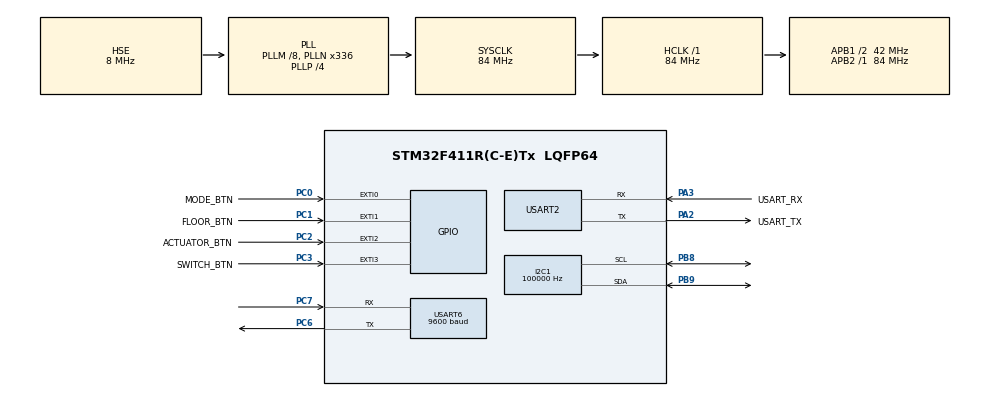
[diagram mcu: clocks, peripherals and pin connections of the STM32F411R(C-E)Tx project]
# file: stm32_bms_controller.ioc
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I2C1.ClockSpeed=100000
Mcu.Family=STM32F4
Mcu.Name=STM32F411R(C-E)Tx
Mcu.Package=LQFP64
NVIC.EXTI0_IRQn=true\:0\:0\:false\:true\:true\:1\:true\:true\:true
NVIC.EXTI1_IRQn=true\:0\:0\:false\:true\:true\:2\:true\:true\:true
NVIC.EXTI2_IRQn=true\:0\:0\:false\:true\:true\:3\:true\:true\:true
NVIC.EXTI3_IRQn=true\:0\:0\:false\:true\:true\:4\:true\:true\:true
NVIC.PriorityGroup=NVIC_PRIORITYGROUP_0
NVIC.TIM3_IRQn=true\:0\:0\:false\:false\:true\:true\:true\:true
NVIC.USART2_IRQn=true\:0\:0\:false\:false\:true\:true\:true\:true
NVIC.USART6_IRQn=true\:0\:0\:false\:false\:true\:true\:true\:true
PA13.GPIO_Label=TMS
PA13.Mode=Serial_Wire
PA13.Signal=SYS_JTMS-SWDIO
PA14.GPIO_Label=TCK
PA14.Mode=Serial_Wire
PA14.Signal=SYS_JTCK-SWCLK
PA2.GPIO_Label=USART_TX
PA2.Mode=Asynchronous
PA2.Signal=USART2_TX
PA3.GPIO_Label=USART_RX
PA3.Mode=Asynchronous
PA3.Signal=USART2_RX
PB3.GPIO_Label=SWO
PB3.Signal=SYS_JTDO-SWO
PB8.Mode=I2C
PB8.Signal=I2C1_SCL
PB9.Mode=I2C
PB9.Signal=I2C1_SDA
PC0.GPIO_Label=MODE_BTN
PC0.GPIO_ModeDefaultEXTI=GPIO_MODE_IT_RISING
PC0.GPIO_PuPd=GPIO_PULLDOWN
PC0.Signal=GPXTI0
PC1.GPIO_Label=FLOOR_BTN
PC1.GPIO_ModeDefaultEXTI=GPIO_MODE_IT_RISING
PC1.GPIO_PuPd=GPIO_PULLDOWN
PC1.Signal=GPXTI1
PC14-OSC32_IN.Signal=RCC_OSC32_IN
PC15-OSC32_OUT.Signal=RCC_OSC32_OUT
PC2.GPIO_Label=ACTUATOR_BTN
PC2.GPIO_ModeDefaultEXTI=GPIO_MODE_IT_RISING
PC2.GPIO_PuPd=GPIO_PULLDOWN
PC2.Signal=GPXTI2
PC3.GPIO_Label=SWITCH_BTN
PC3.GPIO_ModeDefaultEXTI=GPIO_MODE_IT_RISING
PC3.GPIO_PuPd=GPIO_PULLDOWN
PC3.Signal=GPXTI3
PC6.Mode=Asynchronous
PC6.Signal=USART6_TX
PC7.Mode=Asynchronous
PC7.Signal=USART6_RX
PH0\ -\ OSC_IN.Mode=HSE-External-Oscillator
PH0\ -\ OSC_IN.Signal=RCC_OSC_IN
PH1\ -\ OSC_OUT.Mode=HSE-External-Oscillator
PH1\ -\ OSC_OUT.Signal=RCC_OSC_OUT
ProjectManager.HeapSize=0x200
ProjectManager.StackSize=0x400
ProjectManager.TargetToolchain=STM32CubeIDE
RCC.48MHZClocksFreq_Value=84000000
RCC.AHBFreq_Value=84000000
RCC.APB1CLKDivider=RCC_HCLK_DIV2
RCC.APB1Freq_Value=42000000
RCC.APB1TimFreq_Value=84000000
RCC.APB2Freq_Value=84000000
RCC.APB2TimFreq_Value=84000000
RCC.CortexFreq_Value=84000000
RCC.FLatency-AdvancedSettings=FLASH_LATENCY_2
RCC.HCLKFreq_Value=84000000
RCC.HSE_VALUE=8000000
RCC.HSI_VALUE=16000000
RCC.LSE_VALUE=32768
RCC.PLLM=8
RCC.PLLN=336
RCC.PLLP=RCC_PLLP_DIV4
RCC.PLLSourceVirtual=RCC_PLLSOURCE_HSE
RCC.SYSCLKFreq_VALUE=84000000
RCC.SYSCLKSource=RCC_SYSCLKSOURCE_PLLCLK
RCC.VCOOutputFreq_Value=336000000
TIM3.AutoReloadPreload=TIM_AUTORELOAD_PRELOAD_ENABLE
TIM3.Period=1000-1
TIM3.Prescaler=84-1
USART2.VirtualMode=VM_ASYNC
USART6.BaudRate=9600
USART6.VirtualMode=VM_ASYNC
VP_TIM3_VS_ClockSourceINT.Mode=Internal
board=NUCLEO-F411RE

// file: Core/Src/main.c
/* USER CODE BEGIN Header */
/**
  ******************************************************************************
  * @file           : main.c
  * @brief          : Main program body
  ******************************************************************************
  * @attention
  *
  * Copyright (c) 2024 STMicroelectronics.
  * All rights reserved.
  *
  * This software is licensed under terms that can be found in the LICENSE file
  * in the root directory of this software component.
  * If no LICENSE file comes with this software, it is provided AS-IS.
  *
  ******************************************************************************
  */
/* USER CODE END Header */
#include "main.h"

/* USER CODE BEGIN Includes */
#include <stdio.h>
#include <string.h>
//#include "dht.h"
#include "clcd.h"
/* USER CODE END Includes */

/* USER CODE BEGIN PD */
#ifdef __GNUC__
/* With GCC, small printf (option LD Linker->Libraries->Small printf
   set to 'Yes') calls __io_putchar() */
#define PUTCHAR_PROTOTYPE int __io_putchar(int ch)
#else
#define PUTCHAR_PROTOTYPE int fputc(int ch, FILE *f)
#endif /* __GNUC__ */
#define ARR_CNT 6
#define CMD_SIZE 50

#define FLOOR_SIZE 	5
#define ACTUATOR_SIZE  4
#define MONITOR		0
#define CONTROL		1
#define ALARM		2
/* USER CODE END PD */

I2C_HandleTypeDef hi2c1;

TIM_HandleTypeDef htim3;

UART_HandleTypeDef huart2;
UART_HandleTypeDef huart6;

/* USER CODE BEGIN PV */
uint8_t rx2char;
volatile unsigned char rx2Flag = 0;
volatile char rx2Data[50];
volatile unsigned char btFlag = 0;
uint8_t btchar;
char btData[50];
volatile int keyNo = 9;
volatile int tim3Flag1Sec;
volatile unsigned int tim3Cnt;
volatile int updateTimeFlag = 1;
volatile uint32_t lastButtonPressTime = 0;
int modeState;
int floorState = 1; //0F -> ALL
int actuatorState;
int onoffState;

typedef struct {
  int year;
  int month;
  int day;
  int hour;
  int min;
  int sec;
} DATETIME;

DATETIME dateTime = {0, 0, 0, 12, 0, 0};

int alarmState;
DATETIME openTime = {0, 0, 0, 8, 0, 0};
DATETIME closeTime = {0, 0, 0, 22, 0, 0};
/* USER CODE END PV */

void SystemClock_Config(void);
static void MX_GPIO_Init(void);
static void MX_USART2_UART_Init(void);
static void MX_USART6_UART_Init(void);
static void MX_I2C1_Init(void);
static void MX_TIM3_Init(void);
static void MX_NVIC_Init(void);
/* USER CODE BEGIN PFP */
void bluetooth_Event();
/* USER CODE END PFP */

int main(void)
{

  /* MCU Configuration--------------------------------------------------------*/

  /* Reset of all peripherals, Initializes the Flash interface and the Systick. */
  HAL_Init();

  /* Configure the system clock */
  SystemClock_Config();

  /* Initialize all configured peripherals */
  MX_GPIO_Init();
  MX_USART2_UART_Init();
  MX_USART6_UART_Init();
  MX_I2C1_Init();
  MX_TIM3_Init();

  /* Initialize interrupts */
  MX_NVIC_Init();
  /* USER CODE BEGIN 2 */
  HAL_UART_Receive_IT(&huart2, &rx2char,1);
  HAL_UART_Receive_IT(&huart6, &btchar,1);
  //DHT11_Init();
  LCD_init(&hi2c1);

  //DHT11_TypeDef dht11Data;
  char buff[30];

  printf("start main() \r\n");
  LCD_update(modeState, floorState, actuatorState, onoffState);

  if(HAL_TIM_Base_Start_IT(&htim3) != HAL_OK)
  {
	  Error_Handler();
  }

//  char buf[10] = "Hello\r";
  /* USER CODE END 2 */

  /* Infinite loop */
  /* USER CODE BEGIN WHILE */
  while (1)
  {
	  ///////////////BUTTON EVENT////////////////////
	  if(keyNo != 0)
	  {
		  button_event();
		  LCD_update(modeState, floorState, actuatorState, onoffState);
		  keyNo = 0;
	  }
	  ////////////////////////////////////////////////////
	  if(rx2Flag)
	  {
		  printf("recv2 : %s\r\n",rx2Data);
		  rx2Flag =0;
	//	    HAL_UART_Transmit(&huart6, (uint8_t *)buf, strlen(buf), 0xFFFF);
	  }
	  if(tim3Flag1Sec)
	  {
		  tim3Flag1Sec = 0;
		  if(modeState == ALARM)
		  {
			  LCD_update(modeState, floorState, actuatorState, onoffState);
		  }
	  }
	  if(updateTimeFlag)
	  {
		  updateTimeFlag = 0;
		  char message[100];
		  sprintf(message, "[GETTIME]\n");
		  HAL_UART_Transmit(&huart6, (uint8_t *)message, strlen(message), HAL_MAX_DELAY);

	  }
	  if(btFlag)
	  {
//		printf("bt : %s\r\n",btData);
			btFlag =0;
			bluetooth_Event();
	  }
	  //dht11Data = DHT11_readData();
	  //sprintf(buff,"h: %d%% t: %d.%d'C", dht11Data.rh_byte1, dht11Data.temp_byte1, dht11Data.temp_byte2);
	  //printf("%s\r\n", buff);
	  //LCD_writeStringXY(1, 0, buff);
	  HAL_Delay(20);

//	  HAL_GPIO_TogglePin(GPIOC, GPIO_PIN_13);
//	  HAL_Delay(500);

    /* USER CODE END WHILE */

  }
}

void SystemClock_Config(void)
{
  RCC_OscInitTypeDef RCC_OscInitStruct = {0};
  RCC_ClkInitTypeDef RCC_ClkInitStruct = {0};

  /** Configure the main internal regulator output voltage
  */
  __HAL_RCC_PWR_CLK_ENABLE();
  __HAL_PWR_VOLTAGESCALING_CONFIG(PWR_REGULATOR_VOLTAGE_SCALE1);

  /** Initializes the RCC Oscillators according to the specified parameters
  * in the RCC_OscInitTypeDef structure.
  */
  RCC_OscInitStruct.OscillatorType = RCC_OSCILLATORTYPE_HSE;
  RCC_OscInitStruct.HSEState = RCC_HSE_ON;
  RCC_OscInitStruct.PLL.PLLState = RCC_PLL_ON;
  RCC_OscInitStruct.PLL.PLLSource = RCC_PLLSOURCE_HSE;
  RCC_OscInitStruct.PLL.PLLM = 8;
  RCC_OscInitStruct.PLL.PLLN = 336;
  RCC_OscInitStruct.PLL.PLLP = RCC_PLLP_DIV4;
  RCC_OscInitStruct.PLL.PLLQ = 4;
  if (HAL_RCC_OscConfig(&RCC_OscInitStruct) != HAL_OK)
  {
    Error_Handler();
  }

  /** Initializes the CPU, AHB and APB buses clocks
  */
  RCC_ClkInitStruct.ClockType = RCC_CLOCKTYPE_HCLK|RCC_CLOCKTYPE_SYSCLK
                              |RCC_CLOCKTYPE_PCLK1|RCC_CLOCKTYPE_PCLK2;
  RCC_ClkInitStruct.SYSCLKSource = RCC_SYSCLKSOURCE_PLLCLK;
  RCC_ClkInitStruct.AHBCLKDivider = RCC_SYSCLK_DIV1;
  RCC_ClkInitStruct.APB1CLKDivider = RCC_HCLK_DIV2;
  RCC_ClkInitStruct.APB2CLKDivider = RCC_HCLK_DIV1;

  if (HAL_RCC_ClockConfig(&RCC_ClkInitStruct, FLASH_LATENCY_2) != HAL_OK)
  {
    Error_Handler();
  }
}

/**
  * @brief NVIC Configuration.
  * @retval None
  */
static void MX_NVIC_Init(void)
{
  /* EXTI0_IRQn interrupt configuration */
  HAL_NVIC_SetPriority(EXTI0_IRQn, 0, 0);
  HAL_NVIC_EnableIRQ(EXTI0_IRQn);
  /* EXTI1_IRQn interrupt configuration */
  HAL_NVIC_SetPriority(EXTI1_IRQn, 0, 0);
  HAL_NVIC_EnableIRQ(EXTI1_IRQn);
  /* EXTI2_IRQn interrupt configuration */
  HAL_NVIC_SetPriority(EXTI2_IRQn, 0, 0);
  HAL_NVIC_EnableIRQ(EXTI2_IRQn);
  /* EXTI3_IRQn interrupt configuration */
  HAL_NVIC_SetPriority(EXTI3_IRQn, 0, 0);
  HAL_NVIC_EnableIRQ(EXTI3_IRQn);
}

static void MX_I2C1_Init(void)
{

  hi2c1.Instance = I2C1;
  hi2c1.Init.ClockSpeed = 100000;
  hi2c1.Init.DutyCycle = I2C_DUTYCYCLE_2;
  hi2c1.Init.OwnAddress1 = 0;
  hi2c1.Init.AddressingMode = I2C_ADDRESSINGMODE_7BIT;
  hi2c1.Init.DualAddressMode = I2C_DUALADDRESS_DISABLE;
  hi2c1.Init.OwnAddress2 = 0;
  hi2c1.Init.GeneralCallMode = I2C_GENERALCALL_DISABLE;
  hi2c1.Init.NoStretchMode = I2C_NOSTRETCH_DISABLE;
  if (HAL_I2C_Init(&hi2c1) != HAL_OK)
  {
    Error_Handler();
  }

}

static void MX_TIM3_Init(void)
{

  TIM_ClockConfigTypeDef sClockSourceConfig = {0};
  TIM_MasterConfigTypeDef sMasterConfig = {0};

  htim3.Instance = TIM3;
  htim3.Init.Prescaler = 84-1;
  htim3.Init.CounterMode = TIM_COUNTERMODE_UP;
  htim3.Init.Period = 1000-1;
  htim3.Init.ClockDivision = TIM_CLOCKDIVISION_DIV1;
  htim3.Init.AutoReloadPreload = TIM_AUTORELOAD_PRELOAD_ENABLE;
  if (HAL_TIM_Base_Init(&htim3) != HAL_OK)
  {
    Error_Handler();
  }
  sClockSourceConfig.ClockSource = TIM_CLOCKSOURCE_INTERNAL;
  if (HAL_TIM_ConfigClockSource(&htim3, &sClockSourceConfig) != HAL_OK)
  {
    Error_Handler();
  }
  sMasterConfig.MasterOutputTrigger = TIM_TRGO_RESET;
  sMasterConfig.MasterSlaveMode = TIM_MASTERSLAVEMODE_DISABLE;
  if (HAL_TIMEx_MasterConfigSynchronization(&htim3, &sMasterConfig) != HAL_OK)
  {
    Error_Handler();
  }

}

static void MX_USART2_UART_Init(void)
{

  huart2.Instance = USART2;
  huart2.Init.BaudRate = 115200;
  huart2.Init.WordLength = UART_WORDLENGTH_8B;
  huart2.Init.StopBits = UART_STOPBITS_1;
  huart2.Init.Parity = UART_PARITY_NONE;
  huart2.Init.Mode = UART_MODE_TX_RX;
  huart2.Init.HwFlowCtl = UART_HWCONTROL_NONE;
  huart2.Init.OverSampling = UART_OVERSAMPLING_16;
  if (HAL_UART_Init(&huart2) != HAL_OK)
  {
    Error_Handler();
  }

}

static void MX_USART6_UART_Init(void)
{

  huart6.Instance = USART6;
  huart6.Init.BaudRate = 9600;
  huart6.Init.WordLength = UART_WORDLENGTH_8B;
  huart6.Init.StopBits = UART_STOPBITS_1;
  huart6.Init.Parity = UART_PARITY_NONE;
  huart6.Init.Mode = UART_MODE_TX_RX;
  huart6.Init.HwFlowCtl = UART_HWCONTROL_NONE;
  huart6.Init.OverSampling = UART_OVERSAMPLING_16;
  if (HAL_UART_Init(&huart6) != HAL_OK)
  {
    Error_Handler();
  }

}

static void MX_GPIO_Init(void)
{
  GPIO_InitTypeDef GPIO_InitStruct = {0};

  /* GPIO Ports Clock Enable */
  __HAL_RCC_GPIOC_CLK_ENABLE();
  __HAL_RCC_GPIOH_CLK_ENABLE();
  __HAL_RCC_GPIOA_CLK_ENABLE();
  __HAL_RCC_GPIOB_CLK_ENABLE();

  /*Configure GPIO pins : MODE_BTN_Pin FLOOR_BTN_Pin ACTUATOR_BTN_Pin SWITCH_BTN_Pin */
  GPIO_InitStruct.Pin = MODE_BTN_Pin|FLOOR_BTN_Pin|ACTUATOR_BTN_Pin|SWITCH_BTN_Pin;
  GPIO_InitStruct.Mode = GPIO_MODE_IT_FALLING;
  GPIO_InitStruct.Pull = GPIO_PULLDOWN;
  HAL_GPIO_Init(GPIOC, &GPIO_InitStruct);

}

/* USER CODE BEGIN 4 */
void button_event()
{
    char message[CMD_SIZE] = {0};
    switch(keyNo) {
        case 1: //MODE TOGGLE
        	modeState = (modeState + 1) % 3;
            if(modeState == MONITOR)
            {
                //modeState = CONTROL;
                sprintf(message, "[BMS_SQL]GET@%dF@%s\n",
                        floorState,
                        actuatorState == 0 ? "FAN" :
                        actuatorState == 1 ? "BLIND" :
                        actuatorState == 2 ? "LAMP" :
                        "WINDOW");
                HAL_UART_Transmit(&huart6, (uint8_t *)message, strlen(message), HAL_MAX_DELAY);
            }
            else if(modeState == CONTROL)
            {
                //modeState = ALARM;
                if(floorState == 0) //All -> 1F
                {
                    floorState = 1;
                }
            }
            updateTimeFlag = 1;
            LCD_clear();
            break;
        case 2: //FLOOR CHANGE    ||	ALARM SWITCH
            if(modeState == MONITOR)
            {
                floorState = (floorState % FLOOR_SIZE) + 1;
                LCD_clear();
            }
            else if(modeState == CONTROL) //ADD ALL FLOOR
            {
                floorState = (floorState + 1) % (FLOOR_SIZE + 1);
                sprintf(message, "[BMS_SQL]GET@%dF@%s\n",
                        floorState,
                        actuatorState == 0 ? "FAN" :
                        actuatorState == 1 ? "BLIND" :
                        actuatorState == 2 ? "LAMP" :
                        "WINDOW");
                HAL_UART_Transmit(&huart6, (uint8_t *)message, strlen(message), HAL_MAX_DELAY);
            }
            else if(modeState == ALARM)
            {
            	alarmState = (alarmState + 1) % 2;
            }
            break;
        case 3: //ACTUATOR CHANGE	||	ALARM TIME CONFIG
            if(modeState == CONTROL)
            {
                actuatorState = (actuatorState + 1) % ACTUATOR_SIZE;
                sprintf(message, "[BMS_SQL]GET@%dF@%s\n",
                        floorState,
                        actuatorState == 0 ? "FAN" :
                        actuatorState == 1 ? "BLIND" :
                        actuatorState == 2 ? "LAMP" :
                        "WINDOW");
                HAL_UART_Transmit(&huart6, (uint8_t *)message, strlen(message), HAL_MAX_DELAY);
            }
            else if(modeState == ALARM)
            {
            	if(alarmState == 0)
				{
            		alarm_hour(&openTime);
				}
				else if(alarmState == 1)
				{
					alarm_hour(&closeTime);
				}
            }
            break;
        case 4: //ONOFF TOGGLE	||	ALARM ONOFF TOGGLE
            if(modeState == CONTROL)
            {
                onoffState = !onoffState;
                sprintf(message, "[BMS_SQL]SET@%dF@%s@%s\n",
                        floorState,
                        actuatorState == 0 ? "FAN" :
                        actuatorState == 1 ? "BLIND" :
                        actuatorState == 2 ? "LAMP" :
                        "WINDOW",
                        actuatorState == 1 ? (onoffState == 1 ? "UP" : "DOWN") : // BLIND
                        actuatorState == 3 ? (onoffState == 1 ? "OPEN" : "CLOSE") : // WINDOW
                        (onoffState == 1 ? "ON" : "OFF")); // FAN/LAMP
                HAL_UART_Transmit(&huart6, (uint8_t *)message, strlen(message), HAL_MAX_DELAY);
            }
            else if(modeState == ALARM)
			{
				if(alarmState == 0)	alarm_min(&openTime);
				else if(alarmState == 1) alarm_min(&closeTime);
			}
            break;
        default:
            break;
    }
}

void LCD_update(int mode, int floor, int actuator, int onoff) {
    /////////////////////INTIALIZE///////////////////////////
	char modeName[10];
	char floorName[4];
	char actuatorName[7];
	char onoffName[6];
	char buffer[16];

	/////////////////////NAME SETTING///////////////////////////
    if (floor == 0) {
        strcpy(floorName, "ALL");
    } else {
        sprintf(floorName, "%dF ", floor);
    }

    if (actuator == 0) {
        strcpy(actuatorName, "FAN   ");
        if (onoff == 0)
                strcpy(onoffName, "OFF  ");
            else if (onoff == 1)
                strcpy(onoffName, "ON   ");
    } else if (actuator == 1) {
        strcpy(actuatorName, "BLIND ");
        if (onoff == 0)
                strcpy(onoffName, "DOWN ");
            else if (onoff == 1)
                strcpy(onoffName, "UP   ");
    } else if (actuator == 2) {
        strcpy(actuatorName, "LAMP  ");
        if (onoff == 0)
                strcpy(onoffName, "OFF  ");
            else if (onoff == 1)
                strcpy(onoffName, "ON   ");
    } else if (actuator == 3) {
        strcpy(actuatorName, "WINDOW");
        if (onoff == 0)
                strcpy(onoffName, "CLOSE");
            else if (onoff == 1)
                strcpy(onoffName, "OPEN ");
    }

    /////////////////////////////LCD PRINT///////////////////////////////
    if (mode == MONITOR) {  // MONITOR MODE
		strcpy(modeName, "MONITOR");
		snprintf(buffer, sizeof(buffer), "%-8s %-5s", modeName, floorName);
		LCD_writeStringXY(0, 0, buffer);
	} else if (mode == CONTROL) {  // CONTROL MODE
		strcpy(modeName, "CONTROL");
		snprintf(buffer, sizeof(buffer), "%-8s %-5s", modeName, floorName);
		LCD_writeStringXY(0, 0, buffer);
		snprintf(buffer, sizeof(buffer), "%-8s %-5s", actuatorName, onoffName);
		LCD_writeStringXY(1, 0, buffer);
	} else if (mode == ALARM) {
		strcpy(modeName, "ALARM");
		snprintf(buffer, sizeof(buffer), "%s %02d:%02d:%02d", modeName, dateTime.hour, dateTime.min, dateTime.sec);
		LCD_writeStringXY(0, 0, buffer);
		if(alarmState == 0) snprintf(buffer, sizeof(buffer), "%02d:%02d  OPEN ", openTime.hour, openTime.min);
		else if(alarmState == 1) snprintf(buffer, sizeof(buffer), "%02d:%02d  CLOSE", closeTime.hour, closeTime.min);
		LCD_writeStringXY(1, 0, buffer);
	}
}

void bluetooth_Event()
{
    int i = 0;
    char *pToken;
    char *pArray[ARR_CNT] = {0};
    char recvBuf[CMD_SIZE] = {0};
    char sendBuf[CMD_SIZE] = {0};

    strcpy(recvBuf, btData);

    printf("btData : %s\r\n", btData);

    pToken = strtok(recvBuf, "[@]");
    while (pToken != NULL) {
        pArray[i] = pToken;
        if (++i >= ARR_CNT)
            break;
        pToken = strtok(NULL, "[@]");
    }

    ///////////////////////////////// ACTUATOR STATE RECEIVE /////////////////////////////////
    if (!strcmp(pArray[1], "ACTUATOR"))
    {
        int receivedFloor;
        if (!strcmp(pArray[2], "ALL")) {
            receivedFloor = 0;
        } else if (sscanf(pArray[2], "%dF", &receivedFloor) == 1) {
            floorState = receivedFloor;
        }

        if (!strcmp(pArray[3], "FAN")) {
            actuatorState = 0;
        } else if (!strcmp(pArray[3], "BLIND")) {
            actuatorState = 1;
        } else if (!strcmp(pArray[3], "LAMP")) {
            actuatorState = 2;
        } else if (!strcmp(pArray[3], "WINDOW")) {
            actuatorState = 3;
        }

        onoffState = (!strcmp(pArray[4], "ON") || !strcmp(pArray[4], "OPEN") || !strcmp(pArray[4], "UP")) ? 1 : 0;

        LCD_update(modeState, floorState, actuatorState, onoffState);
        return;
    }
    ///////////////////////////////// SENSOR DATA RECEIVE /////////////////////////////////
    else if((modeState == MONITOR) && !strcmp(pArray[1], "SENSOR"))
    {	//SENSOR@FLOOR@CDS@HUMI@TEMP
    	int floor = atoi(pArray[2]);
    	if(floor == floorState)
    	{
    		int cds = atoi(pArray[3]);
			int humi = atoi(pArray[4]);
			int temp = atoi(pArray[5]);
			char buffer[16];

			snprintf(buffer, sizeof(buffer), "C:%2d,H:%2d,T:%2d",cds, humi, temp);
			LCD_writeStringXY(1, 0, buffer);
    	}
    	return;
    }
    ////////////////////////////////// GETTIME /////////////////////////////////////////
    else if(!strcmp(pArray[0],"GETTIME")) {  //GETTIME
      dateTime.year = (pArray[1][0]-0x30) * 10 + pArray[1][1]-0x30 ;
      dateTime.month =  (pArray[1][3]-0x30) * 10 + pArray[1][4]-0x30 ;
      dateTime.day =  (pArray[1][6]-0x30) * 10 + pArray[1][7]-0x30 ;
      dateTime.hour = (pArray[1][9]-0x30) * 10 + pArray[1][10]-0x30 ;
      dateTime.min =  (pArray[1][12]-0x30) * 10 + pArray[1][13]-0x30 ;
      dateTime.sec =  (pArray[1][15]-0x30) * 10 + pArray[1][16]-0x30 ;
      return;
    }
    ////////////////////////////////// ETC /////////////////////////////////////////
    else if (!strncmp(pArray[1], " New conn", sizeof(" New conn"))) {
        return;
    } else if (!strncmp(pArray[1], " Already log", sizeof(" Already log"))) {
        return;
    } else
        return;

    sprintf(sendBuf, "[%s]%s@%s\n", pArray[0], pArray[1], pArray[2]);
    HAL_UART_Transmit(&huart6, (uint8_t *)sendBuf, strlen(sendBuf), HAL_MAX_DELAY);
}

/**
  * @brief  Retargets the C library printf function to the USART.
  * @param  None
  * @retval None
  */
PUTCHAR_PROTOTYPE
{
  /* Place your implementation of fputc here */
  /* e.g. write a character to the USART6 and Loop until the end of transmission */
  HAL_UART_Transmit(&huart2, (uint8_t *)&ch, 1, 0xFFFF);

  return ch;
}

void clock_calc(DATETIME *dateTime, DATETIME *openTime, DATETIME *closeTime)
{
  dateTime->sec++;          // 초 증가

  if (dateTime->sec >= 60) // 60초 도달 시
  {
      dateTime->sec = 0;    // 초 초기화
      dateTime->min++;      // 분 증가

      if (dateTime->min >= 60) // 60분 도달 시
      {
          dateTime->min = 0;  // 분 초기화
          dateTime->hour++;   // 시간 증가

          if (dateTime->hour == 24) // 24시간 도달 시
          {
            dateTime->hour = 0;   // 시간 초기화
            updateTimeFlag = 1; // 시간이 갱신되었음을 알리는 플래그
          }
       }
   }

  char message[100];
  if((dateTime->min == openTime->min)&&(dateTime->hour == openTime->hour)&&(dateTime->sec == 0))
  {
		sprintf(message, "[BMS_SQL]OPEN\n");
		HAL_UART_Transmit(&huart6, (uint8_t *)message, strlen(message), HAL_MAX_DELAY);

  }
  else if((dateTime->min == closeTime->min)&&(dateTime->hour == closeTime->hour)&&(dateTime->sec == 0))
  {
		sprintf(message, "[BMS_SQL]CLOSE\n");
		HAL_UART_Transmit(&huart6, (uint8_t *)message, strlen(message), HAL_MAX_DELAY);
  }
}

void alarm_min(DATETIME *alarmTime)
{
  alarmTime->min++;          // 초 증가

  if (alarmTime->min >= 60) // 60분 도달 시
  {
	  alarmTime->min = 0;  // 분 초기화
	  alarmTime->hour++;   // 시간 증가

	  if (alarmTime->hour == 24) // 24시간 도달 시
	  {
		  alarmTime->hour = 0;   // 시간 초기화
	  }
   }
}

void alarm_hour(DATETIME *alarmTime)
{
  alarmTime->hour++;          // 초 증가

  if (alarmTime->hour == 24) // 24시간 도달 시
  {
	  alarmTime->hour = 0;   // 시간 초기화
  }
}

void HAL_GPIO_EXTI_Callback(uint16_t GPIO_Pin) {
	uint32_t currentTime = HAL_GetTick();

	if ((currentTime - lastButtonPressTime < 50) && keyNo != 0) {
		return;
	}
	lastButtonPressTime = currentTime;
	switch (GPIO_Pin) {
		case MODE_BTN_Pin:
			keyNo = 1;
			break;
		case FLOOR_BTN_Pin:
			keyNo = 2;
			break;
		case ACTUATOR_BTN_Pin:
			keyNo = 3;
			break;
		case SWITCH_BTN_Pin:
			keyNo = 4;
			break;
		default:
			keyNo = 0;
			return;
	}
}

///////////////////////////TIMER INTERRUPT/////////////////////////////////////
void HAL_TIM_PeriodElapsedCallback(TIM_HandleTypeDef *htim)
{

	tim3Cnt++;
	if(tim3Cnt >= 1000) //1ms * 1000 = 1Sec
	{
		tim3Flag1Sec = 1;
		tim3Cnt = 0;
		clock_calc(&dateTime, &openTime, &closeTime);
	}
}

void HAL_UART_RxCpltCallback(UART_HandleTypeDef *huart)
{
    if(huart->Instance == USART2)
    {
    	static int i=0;
    	rx2Data[i] = rx2char;
    	if((rx2Data[i] == '\r')||(btData[i] == '\n'))
    	{
    		rx2Data[i] = '\0';
    		rx2Flag = 1;
    		i = 0;
    	}
    	else
    	{
    		i++;
    	}
    	HAL_UART_Receive_IT(&huart2, &rx2char,1);
    }
    if(huart->Instance == USART6)
    {
    	static int i=0;
    	btData[i] = btchar;
    	if((btData[i] == '\n') || btData[i] == '\r')
    	{
    		btData[i] = '\0';
    		btFlag = 1;
    		i = 0;
    	}
    	else
    	{
    		i++;
    	}
    	HAL_UART_Receive_IT(&huart6, &btchar,1);
    }
}
/* USER CODE END 4 */

void Error_Handler(void)
{
  __disable_irq();
  while (1)
  {
  }
}
